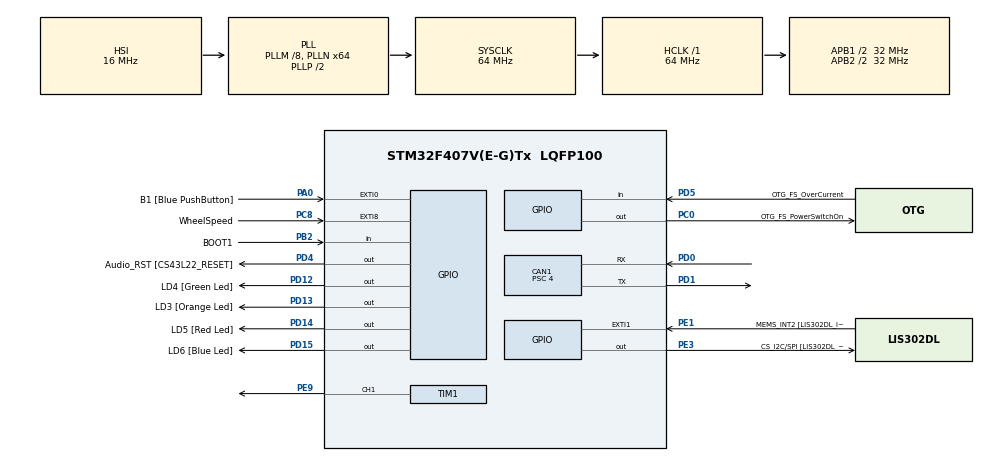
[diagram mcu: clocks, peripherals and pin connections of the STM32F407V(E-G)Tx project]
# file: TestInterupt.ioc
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CAN1.ABOM=ENABLE
CAN1.BS1=CAN_BS1_7TQ
CAN1.BS2=CAN_BS2_8TQ
CAN1.CalculateTimeBit=2000
CAN1.CalculateTimeQuantum=125.0
CAN1.Prescaler=4
CAN1.SJW=CAN_SJW_2TQ
FREERTOS.Tasks01=defaultTask,0,128,StartDefaultTask,Default,NULL
Mcu.Family=STM32F4
Mcu.Name=STM32F407V(E-G)Tx
Mcu.Package=LQFP100
NVIC.CAN1_RX0_IRQn=true\:5\:0\:false\:false\:true\:true\:true
NVIC.CAN1_RX1_IRQn=true\:5\:0\:false\:false\:true\:true\:true
NVIC.CAN1_TX_IRQn=true\:5\:0\:false\:false\:true\:true\:true
NVIC.EXTI0_IRQn=true\:5\:0\:false\:false\:true\:true\:true
NVIC.EXTI9_5_IRQn=true\:5\:0\:false\:false\:true\:true\:true
NVIC.PriorityGroup=NVIC_PRIORITYGROUP_4
NVIC.TIM1_BRK_TIM9_IRQn=true\:5\:0\:false\:false\:true\:true\:true
NVIC.TIM1_TRG_COM_TIM11_IRQn=true\:5\:0\:false\:false\:true\:true\:true
NVIC.TIM1_UP_TIM10_IRQn=true\:5\:0\:false\:false\:true\:true\:true
NVIC.TIM2_IRQn=true\:0\:0\:false\:false\:true\:false\:false
NVIC.TimeBase=TIM2_IRQn
NVIC.TimeBaseIP=TIM2
PA0-WKUP.GPIO_Label=B1 [Blue PushButton]
PA0-WKUP.Signal=GPXTI0
PA10.GPIO_Label=OTG_FS_ID
PA10.GPIO_Mode=GPIO_MODE_AF_PP
PA10.GPIO_PuPd=GPIO_NOPULL
PA10.GPIO_Speed=GPIO_SPEED_FREQ_LOW
PA10.Signal=USB_OTG_FS_ID
PA11.GPIO_Label=OTG_FS_DM
PA11.GPIO_Mode=GPIO_MODE_AF_PP
PA11.GPIO_PuPd=GPIO_NOPULL
PA11.GPIO_Speed=GPIO_SPEED_FREQ_LOW
PA11.Signal=USB_OTG_FS_DM
PA12.GPIO_Label=OTG_FS_DP
PA12.GPIO_Mode=GPIO_MODE_AF_PP
PA12.GPIO_PuPd=GPIO_NOPULL
PA12.GPIO_Speed=GPIO_SPEED_FREQ_LOW
PA12.Signal=USB_OTG_FS_DP
PA13.GPIO_Label=SWDIO
PA13.Signal=SYS_JTMS-SWDIO
PA14.GPIO_Label=SWCLK
PA14.Signal=SYS_JTCK-SWCLK
PA4.GPIO_Label=I2S3_WS [CS43L22_LRCK]
PA4.GPIO_Mode=GPIO_MODE_AF_PP
PA4.GPIO_PuPd=GPIO_NOPULL
PA4.GPIO_Speed=GPIO_SPEED_FREQ_LOW
PA4.Signal=I2S3_WS
PA5.GPIO_Label=SPI1_SCK [LIS302DL_SCL/SPC]
PA5.GPIO_Mode=GPIO_MODE_AF_PP
PA5.GPIO_PuPd=GPIO_NOPULL
PA5.GPIO_Speed=GPIO_SPEED_FREQ_LOW
PA5.Signal=SPI1_SCK
PA6.GPIO_Label=SPI1_MISO [LIS302DL_SDO]
PA6.GPIO_Mode=GPIO_MODE_AF_PP
PA6.GPIO_PuPd=GPIO_NOPULL
PA6.GPIO_Speed=GPIO_SPEED_FREQ_LOW
PA6.Signal=SPI1_MISO
PA7.GPIO_Label=SPI1_MOSI [LIS302DL_SDA/SDI/SDO]
PA7.GPIO_Mode=GPIO_MODE_AF_PP
PA7.GPIO_PuPd=GPIO_NOPULL
PA7.GPIO_Speed=GPIO_SPEED_FREQ_LOW
PA7.Signal=SPI1_MOSI
PA9.GPIO_Label=VBUS_FS
PA9.GPIO_Mode=GPIO_MODE_INPUT
PA9.GPIO_PuPd=GPIO_NOPULL
PA9.Signal=USB_OTG_FS_VBUS
PB10.GPIO_Label=CLK_IN [MP45DT02_CLK]
PB10.GPIO_Mode=GPIO_MODE_AF_PP
PB10.GPIO_PuPd=GPIO_NOPULL
PB10.GPIO_Speed=GPIO_SPEED_FREQ_LOW
PB10.Signal=I2S2_CK
PB2.GPIO_Label=BOOT1
PB2.GPIO_Mode=GPIO_MODE_INPUT
PB2.GPIO_PuPd=GPIO_NOPULL
PB2.Signal=GPIO_Input
PB3.GPIO_Label=SWO
PB3.Signal=SYS_JTDO-SWO
PB6.GPIO_Label=Audio_SCL [CS43L22_SCL]
PB6.GPIO_Mode=GPIO_MODE_AF_OD
PB6.GPIO_PuPd=GPIO_NOPULL
PB6.GPIO_Speed=GPIO_SPEED_FREQ_LOW
PB6.Signal=I2C1_SCL
PB9.GPIO_Label=Audio_SDA [CS43L22_SDA]
PB9.GPIO_Mode=GPIO_MODE_AF_OD
PB9.GPIO_PuPd=GPIO_NOPULL
PB9.GPIO_Speed=GPIO_SPEED_FREQ_LOW
PB9.Signal=I2C1_SDA
PC0.GPIO_Label=OTG_FS_PowerSwitchOn
PC0.GPIO_PuPd=GPIO_NOPULL
PC0.GPIO_Speed=GPIO_SPEED_FREQ_LOW
PC0.PinState=GPIO_PIN_SET
PC0.Signal=GPIO_Output
PC10.GPIO_Label=I2S3_SCK [CS43L22_SCLK]
PC10.GPIO_Mode=GPIO_MODE_AF_PP
PC10.GPIO_PuPd=GPIO_NOPULL
PC10.GPIO_Speed=GPIO_SPEED_FREQ_LOW
PC10.Signal=I2S3_CK
PC12.GPIO_Label=I2S3_SD [CS43L22_SDIN]
PC12.GPIO_Mode=GPIO_MODE_AF_PP
PC12.GPIO_PuPd=GPIO_NOPULL
PC12.GPIO_Speed=GPIO_SPEED_FREQ_LOW
PC12.Signal=I2S3_SD
PC14-OSC32_IN.GPIO_Label=PC14-OSC32_IN
PC14-OSC32_IN.Signal=RCC_OSC32_IN
PC15-OSC32_OUT.GPIO_Label=PC15-OSC32_OUT
PC15-OSC32_OUT.Signal=RCC_OSC32_OUT
PC3.GPIO_Label=PDM_OUT [MP45DT02_DOUT]
PC3.GPIO_Mode=GPIO_MODE_AF_PP
PC3.GPIO_PuPd=GPIO_NOPULL
PC3.GPIO_Speed=GPIO_SPEED_FREQ_LOW
PC3.Signal=I2S2_SD
PC7.GPIO_Label=I2S3_MCK [CS43L22_MCLK]
PC7.GPIO_Mode=GPIO_MODE_AF_PP
PC7.GPIO_PuPd=GPIO_NOPULL
PC7.GPIO_Speed=GPIO_SPEED_FREQ_LOW
PC7.Signal=I2S3_MCK
PC8.GPIO_Label=WheelSpeed
PC8.GPIO_ModeDefaultEXTI=GPIO_MODE_IT_FALLING
PC8.Signal=GPXTI8
PD0.Mode=Master
PD0.Signal=CAN1_RX
PD1.Mode=Master
PD1.Signal=CAN1_TX
PD12.GPIO_Label=LD4 [Green Led]
PD12.GPIO_PuPd=GPIO_NOPULL
PD12.GPIO_Speed=GPIO_SPEED_FREQ_LOW
PD12.Signal=GPIO_Output
PD13.GPIO_Label=LD3 [Orange Led]
PD13.GPIO_PuPd=GPIO_NOPULL
PD13.GPIO_Speed=GPIO_SPEED_FREQ_LOW
PD13.Signal=GPIO_Output
PD14.GPIO_Label=LD5 [Red Led]
PD14.GPIO_PuPd=GPIO_NOPULL
PD14.GPIO_Speed=GPIO_SPEED_FREQ_LOW
PD14.Signal=GPIO_Output
PD15.GPIO_Label=LD6 [Blue Led]
PD15.GPIO_PuPd=GPIO_NOPULL
PD15.GPIO_Speed=GPIO_SPEED_FREQ_LOW
PD15.Signal=GPIO_Output
PD4.GPIO_Label=Audio_RST [CS43L22_RESET]
PD4.GPIO_PuPd=GPIO_NOPULL
PD4.GPIO_Speed=GPIO_SPEED_FREQ_LOW
PD4.Signal=GPIO_Output
PD5.GPIO_Label=OTG_FS_OverCurrent
PD5.GPIO_Mode=GPIO_MODE_INPUT
PD5.GPIO_PuPd=GPIO_NOPULL
PD5.Signal=GPIO_Input
PE1.GPIO_Label=MEMS_INT2 [LIS302DL_INT2]
PE1.GPIO_ModeDefaultEXTI=GPIO_MODE_EVT_RISING
PE1.GPIO_PuPd=GPIO_NOPULL
PE1.Signal=GPXTI1
PE3.GPIO_Label=CS_I2C/SPI [LIS302DL_CS_I2C/SPI]
PE3.GPIO_PuPd=GPIO_NOPULL
PE3.GPIO_Speed=GPIO_SPEED_FREQ_LOW
PE3.Signal=GPIO_Output
PE9.Signal=S_TIM1_CH1
PH0-OSC_IN.GPIO_Label=PH0-OSC_IN
PH0-OSC_IN.Signal=RCC_OSC_IN
PH1-OSC_OUT.GPIO_Label=PH1-OSC_OUT
PH1-OSC_OUT.Signal=RCC_OSC_OUT
ProjectManager.HeapSize=0x200
ProjectManager.StackSize=0x400
ProjectManager.TargetToolchain=SW4STM32
RCC.48MHZClocksFreq_Value=18285714.285714287
RCC.AHBFreq_Value=64000000
RCC.APB1CLKDivider=RCC_HCLK_DIV2
RCC.APB1Freq_Value=32000000
RCC.APB1TimFreq_Value=64000000
RCC.APB2CLKDivider=RCC_HCLK_DIV2
RCC.APB2Freq_Value=32000000
RCC.APB2TimFreq_Value=64000000
RCC.CortexFreq_Value=64000000
RCC.HCLKFreq_Value=64000000
RCC.HSE_VALUE=8000000
RCC.HSI_VALUE=16000000
RCC.LSE_VALUE=32768
RCC.PLLM=8
RCC.PLLN=64
RCC.PLLQ=7
RCC.SYSCLKFreq_VALUE=64000000
RCC.SYSCLKSource=RCC_SYSCLKSOURCE_PLLCLK
RCC.VCOOutputFreq_Value=128000000
SH.S_TIM1_CH1.0=TIM1_CH1,Output Compare1 CH1
TIM1.Channel-Output\ Compare1\ CH1=TIM_CHANNEL_1
TIM1.OCMode_1=TIM_OCMODE_TOGGLE
TIM1.Period=250
TIM1.Prescaler=32000
TIM1.RepetitionCounter=250
TIM1.TIM_MasterOutputTrigger=TIM_TRGO_OC1REF
TIM1.TIM_MasterSlaveMode=TIM_MASTERSLAVEMODE_ENABLE
VP_FREERTOS_VS_ENABLE.Mode=Enabled
VP_SYS_VS_tim2.Mode=TIM2
VP_TIM1_VS_ClockSourceINT.Mode=Internal
board=STM32F4DISCOVERY

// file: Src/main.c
/**
  ******************************************************************************
  * File Name          : main.c
  * Description        : Main program body
  ******************************************************************************
  * This notice applies to any and all portions of this file
  * that are not between comment pairs USER CODE BEGIN and
  * USER CODE END. Other portions of this file, whether
  * inserted by the user or by software development tools
  * are owned by their respective copyright owners.
  *
  * Copyright (c) 2017 STMicroelectronics International N.V.
  * All rights reserved.
  *
  * Redistribution and use in source and binary forms, with or without
  * modification, are permitted, provided that the following conditions are met:
  *
  * 1. Redistribution of source code must retain the above copyright notice,
  *    this list of conditions and the following disclaimer.
  * 2. Redistributions in binary form must reproduce the above copyright notice,
  *    this list of conditions and the following disclaimer in the documentation
  *    and/or other materials provided with the distribution.
  * 3. Neither the name of STMicroelectronics nor the names of other
  *    contributors to this software may be used to endorse or promote products
  *    derived from this software without specific written permission.
  * 4. This software, including modifications and/or derivative works of this
  *    software, must execute solely and exclusively on microcontroller or
  *    microprocessor devices manufactured by or for STMicroelectronics.
  * 5. Redistribution and use of this software other than as permitted under
  *    this license is void and will automatically terminate your rights under
  *    this license.
  *
  * THIS SOFTWARE IS PROVIDED BY STMICROELECTRONICS AND CONTRIBUTORS "AS IS"
  * AND ANY EXPRESS, IMPLIED OR STATUTORY WARRANTIES, INCLUDING, BUT NOT
  * LIMITED TO, THE IMPLIED WARRANTIES OF MERCHANTABILITY, FITNESS FOR A
  * PARTICULAR PURPOSE AND NON-INFRINGEMENT OF THIRD PARTY INTELLECTUAL PROPERTY
  * RIGHTS ARE DISCLAIMED TO THE FULLEST EXTENT PERMITTED BY LAW. IN NO EVENT
  * SHALL STMICROELECTRONICS OR CONTRIBUTORS BE LIABLE FOR ANY DIRECT, INDIRECT,
  * INCIDENTAL, SPECIAL, EXEMPLARY, OR CONSEQUENTIAL DAMAGES (INCLUDING, BUT NOT
  * LIMITED TO, PROCUREMENT OF SUBSTITUTE GOODS OR SERVICES; LOSS OF USE, DATA,
  * OR PROFITS; OR BUSINESS INTERRUPTION) HOWEVER CAUSED AND ON ANY THEORY OF
  * LIABILITY, WHETHER IN CONTRACT, STRICT LIABILITY, OR TORT (INCLUDING
  * NEGLIGENCE OR OTHERWISE) ARISING IN ANY WAY OUT OF THE USE OF THIS SOFTWARE,
  * EVEN IF ADVISED OF THE POSSIBILITY OF SUCH DAMAGE.
  *
  ******************************************************************************
  */
#include "main.h"
#include "stm32f4xx_hal.h"
#include "cmsis_os.h"

/* USER CODE BEGIN Includes */
xQueueHandle TXQueue;
/* USER CODE END Includes */

CAN_HandleTypeDef hcan1;

TIM_HandleTypeDef htim1;

osThreadId defaultTaskHandle;

xSemaphoreHandle gatekeeper=0;

/* USER CODE BEGIN PV */
/* Private variables ---------------------------------------------------------*/

volatile double HITCOUNTER;
double speed;

/* USER CODE END PV */

void SystemClock_Config(void);
static void MX_GPIO_Init(void);
static void MX_TIM1_Init(void);
static void MX_CAN1_Init(void);
void StartDefaultTask(void const * argument);

void HAL_TIM_MspPostInit(TIM_HandleTypeDef *htim);

/* USER CODE BEGIN PFP */
/* Private function prototypes -----------------------------------------------*/

void TXCANTask(void *pvParameters)
{
	for (;;)
	{
		//check if the queue has a can frame to send

		CanTxMsgTypeDef tx;
		if (xQueuePeek(TXQueue, &tx, portMAX_DELAY) == pdTRUE)
		{
			//check if CAN mutex is available
			if (xSemaphoreTake(gatekeeper, 100) == pdTRUE)
			{
				//actually take item out of queue
				xQueueReceive(TXQueue, &tx, portMAX_DELAY);

				hcan1.pTxMsg = &tx;  //stage message in CAN structure
				HAL_CAN_Transmit_IT(&hcan1);  //transmit staged message
				xSemaphoreGive(gatekeeper);  //release CAN mutex
			}
		}
	}
}

/* USER CODE END PFP */

/* USER CODE BEGIN 0 */
void my_task(void *p)
{
	//every one second
	for(;;)
	{
		HAL_GPIO_TogglePin(LD5_GPIO_Port,LD5_Pin);// lights up the LED every one second
		vTaskDelay(1000);
		speed=(double)(WHEEL_CIR) *(double)(IPS_TO_MPH)*HITCOUNTER;// calculates speed

		HITCOUNTER=0; // reset

		///////////////
		CanTxMsgTypeDef tx;

		memcpy(tx.Data, &speed, sizeof(double));
		tx.DLC = 8;
		tx.RTR = CAN_RTR_DATA;			//CAN Data frame
		tx.IDE = CAN_ID_STD;			//Standard Identifier
		tx.StdId = 0x200;
		xQueueSendToBack(TXQueue, &tx, 10);

	}
}
/* USER CODE END 0 */

int main(void)
{

  /* MCU Configuration----------------------------------------------------------*/

  /* Reset of all peripherals, Initializes the Flash interface and the Systick. */
  HAL_Init();

  /* Configure the system clock */
  SystemClock_Config();

  /* Initialize all configured peripherals */
  MX_GPIO_Init();
  MX_TIM1_Init();
  MX_CAN1_Init();

  /* USER CODE BEGIN RTOS_MUTEX */
  /* add mutexes, ... */
  gatekeeper=xSemaphoreCreateMutex();
  /* USER CODE END RTOS_MUTEX */

  /* Create the thread(s) */
  /* definition and creation of defaultTask */
  osThreadDef(defaultTask, StartDefaultTask, osPriorityNormal, 0, 128);
  defaultTaskHandle = osThreadCreate(osThread(defaultTask), NULL);

  /* USER CODE BEGIN RTOS_QUEUES */
  /* add queues, ... */

  xTaskCreate(my_task,(signed char*)"my_task",1024,NULL,1,NULL);
  xTaskCreate(TXCANTask,(signed char*)"RXCANTask",1024,NULL,1,NULL);
  TXQueue=xQueueCreate(3,sizeof(CanTxMsgTypeDef));
  /* USER CODE END RTOS_QUEUES */

  /* Start scheduler */
  osKernelStart();

  /* We should never get here as control is now taken by the scheduler */

  /* Infinite loop */
  while (1)
  {

  }

}

/** System Clock Configuration
*/
void SystemClock_Config(void)
{

  RCC_OscInitTypeDef RCC_OscInitStruct;
  RCC_ClkInitTypeDef RCC_ClkInitStruct;

    /**Configure the main internal regulator output voltage
    */
  __HAL_RCC_PWR_CLK_ENABLE();

  __HAL_PWR_VOLTAGESCALING_CONFIG(PWR_REGULATOR_VOLTAGE_SCALE1);

    /**Initializes the CPU, AHB and APB busses clocks
    */
  RCC_OscInitStruct.OscillatorType = RCC_OSCILLATORTYPE_HSI;
  RCC_OscInitStruct.HSIState = RCC_HSI_ON;
  RCC_OscInitStruct.HSICalibrationValue = 16;
  RCC_OscInitStruct.PLL.PLLState = RCC_PLL_ON;
  RCC_OscInitStruct.PLL.PLLSource = RCC_PLLSOURCE_HSI;
  RCC_OscInitStruct.PLL.PLLM = 8;
  RCC_OscInitStruct.PLL.PLLN = 64;
  RCC_OscInitStruct.PLL.PLLP = RCC_PLLP_DIV2;
  RCC_OscInitStruct.PLL.PLLQ = 7;
  if (HAL_RCC_OscConfig(&RCC_OscInitStruct) != HAL_OK)
  {
    _Error_Handler(__FILE__, __LINE__);
  }

    /**Initializes the CPU, AHB and APB busses clocks
    */
  RCC_ClkInitStruct.ClockType = RCC_CLOCKTYPE_HCLK|RCC_CLOCKTYPE_SYSCLK
                              |RCC_CLOCKTYPE_PCLK1|RCC_CLOCKTYPE_PCLK2;
  RCC_ClkInitStruct.SYSCLKSource = RCC_SYSCLKSOURCE_PLLCLK;
  RCC_ClkInitStruct.AHBCLKDivider = RCC_SYSCLK_DIV1;
  RCC_ClkInitStruct.APB1CLKDivider = RCC_HCLK_DIV2;
  RCC_ClkInitStruct.APB2CLKDivider = RCC_HCLK_DIV2;

  if (HAL_RCC_ClockConfig(&RCC_ClkInitStruct, FLASH_LATENCY_2) != HAL_OK)
  {
    _Error_Handler(__FILE__, __LINE__);
  }

    /**Configure the Systick interrupt time
    */
  HAL_SYSTICK_Config(HAL_RCC_GetHCLKFreq()/1000);

    /**Configure the Systick
    */
  HAL_SYSTICK_CLKSourceConfig(SYSTICK_CLKSOURCE_HCLK);

  /* SysTick_IRQn interrupt configuration */
  HAL_NVIC_SetPriority(SysTick_IRQn, 15, 0);
}

/* CAN1 init function */
static void MX_CAN1_Init(void)
{

  hcan1.Instance = CAN1;
  hcan1.Init.Prescaler = 4;
  hcan1.Init.Mode = CAN_MODE_NORMAL;
  hcan1.Init.SJW = CAN_SJW_2TQ;
  hcan1.Init.BS1 = CAN_BS1_7TQ;
  hcan1.Init.BS2 = CAN_BS2_8TQ;
  hcan1.Init.TTCM = DISABLE;
  hcan1.Init.ABOM = ENABLE;
  hcan1.Init.AWUM = DISABLE;
  hcan1.Init.NART = DISABLE;
  hcan1.Init.RFLM = DISABLE;
  hcan1.Init.TXFP = DISABLE;
  if (HAL_CAN_Init(&hcan1) != HAL_OK)
  {
    _Error_Handler(__FILE__, __LINE__);
  }

}

/* TIM1 init function */
static void MX_TIM1_Init(void)
{

  TIM_ClockConfigTypeDef sClockSourceConfig;
  TIM_MasterConfigTypeDef sMasterConfig;
  TIM_OC_InitTypeDef sConfigOC;
  TIM_BreakDeadTimeConfigTypeDef sBreakDeadTimeConfig;

  htim1.Instance = TIM1;
  htim1.Init.Prescaler = 32000;
  htim1.Init.CounterMode = TIM_COUNTERMODE_UP;
  htim1.Init.Period = 250;
  htim1.Init.ClockDivision = TIM_CLOCKDIVISION_DIV1;
  htim1.Init.RepetitionCounter = 250;
  if (HAL_TIM_Base_Init(&htim1) != HAL_OK)
  {
    _Error_Handler(__FILE__, __LINE__);
  }

  sClockSourceConfig.ClockSource = TIM_CLOCKSOURCE_INTERNAL;
  if (HAL_TIM_ConfigClockSource(&htim1, &sClockSourceConfig) != HAL_OK)
  {
    _Error_Handler(__FILE__, __LINE__);
  }

  if (HAL_TIM_OC_Init(&htim1) != HAL_OK)
  {
    _Error_Handler(__FILE__, __LINE__);
  }

  sMasterConfig.MasterOutputTrigger = TIM_TRGO_OC1REF;
  sMasterConfig.MasterSlaveMode = TIM_MASTERSLAVEMODE_ENABLE;
  if (HAL_TIMEx_MasterConfigSynchronization(&htim1, &sMasterConfig) != HAL_OK)
  {
    _Error_Handler(__FILE__, __LINE__);
  }

  sConfigOC.OCMode = TIM_OCMODE_TOGGLE;
  sConfigOC.Pulse = 0;
  sConfigOC.OCPolarity = TIM_OCPOLARITY_HIGH;
  sConfigOC.OCNPolarity = TIM_OCNPOLARITY_HIGH;
  sConfigOC.OCFastMode = TIM_OCFAST_DISABLE;
  sConfigOC.OCIdleState = TIM_OCIDLESTATE_RESET;
  sConfigOC.OCNIdleState = TIM_OCNIDLESTATE_RESET;
  if (HAL_TIM_OC_ConfigChannel(&htim1, &sConfigOC, TIM_CHANNEL_1) != HAL_OK)
  {
    _Error_Handler(__FILE__, __LINE__);
  }

  sBreakDeadTimeConfig.OffStateRunMode = TIM_OSSR_DISABLE;
  sBreakDeadTimeConfig.OffStateIDLEMode = TIM_OSSI_DISABLE;
  sBreakDeadTimeConfig.LockLevel = TIM_LOCKLEVEL_OFF;
  sBreakDeadTimeConfig.DeadTime = 0;
  sBreakDeadTimeConfig.BreakState = TIM_BREAK_DISABLE;
  sBreakDeadTimeConfig.BreakPolarity = TIM_BREAKPOLARITY_HIGH;
  sBreakDeadTimeConfig.AutomaticOutput = TIM_AUTOMATICOUTPUT_DISABLE;
  if (HAL_TIMEx_ConfigBreakDeadTime(&htim1, &sBreakDeadTimeConfig) != HAL_OK)
  {
    _Error_Handler(__FILE__, __LINE__);
  }

  HAL_TIM_MspPostInit(&htim1);

}

/** Configure pins as
        * Analog
        * Input
        * Output
        * EVENT_OUT
        * EXTI
     PC3   ------> I2S2_SD
     PA4   ------> I2S3_WS
     PA5   ------> SPI1_SCK
     PA6   ------> SPI1_MISO
     PA7   ------> SPI1_MOSI
     PB10   ------> I2S2_CK
     PC7   ------> I2S3_MCK
     PA9   ------> USB_OTG_FS_VBUS
     PA10   ------> USB_OTG_FS_ID
     PA11   ------> USB_OTG_FS_DM
     PA12   ------> USB_OTG_FS_DP
     PC10   ------> I2S3_CK
     PC12   ------> I2S3_SD
     PB6   ------> I2C1_SCL
     PB9   ------> I2C1_SDA
*/
static void MX_GPIO_Init(void)
{

  GPIO_InitTypeDef GPIO_InitStruct;

  /* GPIO Ports Clock Enable */
  __HAL_RCC_GPIOE_CLK_ENABLE();
  __HAL_RCC_GPIOC_CLK_ENABLE();
  __HAL_RCC_GPIOH_CLK_ENABLE();
  __HAL_RCC_GPIOA_CLK_ENABLE();
  __HAL_RCC_GPIOB_CLK_ENABLE();
  __HAL_RCC_GPIOD_CLK_ENABLE();

  /*Configure GPIO pin Output Level */
  HAL_GPIO_WritePin(CS_I2C_SPI_GPIO_Port, CS_I2C_SPI_Pin, GPIO_PIN_RESET);

  /*Configure GPIO pin Output Level */
  HAL_GPIO_WritePin(OTG_FS_PowerSwitchOn_GPIO_Port, OTG_FS_PowerSwitchOn_Pin, GPIO_PIN_SET);

  /*Configure GPIO pin Output Level */
  HAL_GPIO_WritePin(GPIOD, LD4_Pin|LD3_Pin|LD5_Pin|LD6_Pin
                          |Audio_RST_Pin, GPIO_PIN_RESET);

  /*Configure GPIO pin : CS_I2C_SPI_Pin */
  GPIO_InitStruct.Pin = CS_I2C_SPI_Pin;
  GPIO_InitStruct.Mode = GPIO_MODE_OUTPUT_PP;
  GPIO_InitStruct.Pull = GPIO_NOPULL;
  GPIO_InitStruct.Speed = GPIO_SPEED_FREQ_LOW;
  HAL_GPIO_Init(CS_I2C_SPI_GPIO_Port, &GPIO_InitStruct);

  /*Configure GPIO pin : OTG_FS_PowerSwitchOn_Pin */
  GPIO_InitStruct.Pin = OTG_FS_PowerSwitchOn_Pin;
  GPIO_InitStruct.Mode = GPIO_MODE_OUTPUT_PP;
  GPIO_InitStruct.Pull = GPIO_NOPULL;
  GPIO_InitStruct.Speed = GPIO_SPEED_FREQ_LOW;
  HAL_GPIO_Init(OTG_FS_PowerSwitchOn_GPIO_Port, &GPIO_InitStruct);

  /*Configure GPIO pin : PDM_OUT_Pin */
  GPIO_InitStruct.Pin = PDM_OUT_Pin;
  GPIO_InitStruct.Mode = GPIO_MODE_AF_PP;
  GPIO_InitStruct.Pull = GPIO_NOPULL;
  GPIO_InitStruct.Speed = GPIO_SPEED_FREQ_LOW;
  GPIO_InitStruct.Alternate = GPIO_AF5_SPI2;
  HAL_GPIO_Init(PDM_OUT_GPIO_Port, &GPIO_InitStruct);

  /*Configure GPIO pin : B1_Pin */
  GPIO_InitStruct.Pin = B1_Pin;
  GPIO_InitStruct.Mode = GPIO_MODE_IT_RISING;
  GPIO_InitStruct.Pull = GPIO_NOPULL;
  HAL_GPIO_Init(B1_GPIO_Port, &GPIO_InitStruct);

  /*Configure GPIO pin : I2S3_WS_Pin */
  GPIO_InitStruct.Pin = I2S3_WS_Pin;
  GPIO_InitStruct.Mode = GPIO_MODE_AF_PP;
  GPIO_InitStruct.Pull = GPIO_NOPULL;
  GPIO_InitStruct.Speed = GPIO_SPEED_FREQ_LOW;
  GPIO_InitStruct.Alternate = GPIO_AF6_SPI3;
  HAL_GPIO_Init(I2S3_WS_GPIO_Port, &GPIO_InitStruct);

  /*Configure GPIO pins : SPI1_SCK_Pin SPI1_MISO_Pin SPI1_MOSI_Pin */
  GPIO_InitStruct.Pin = SPI1_SCK_Pin|SPI1_MISO_Pin|SPI1_MOSI_Pin;
  GPIO_InitStruct.Mode = GPIO_MODE_AF_PP;
  GPIO_InitStruct.Pull = GPIO_NOPULL;
  GPIO_InitStruct.Speed = GPIO_SPEED_FREQ_LOW;
  GPIO_InitStruct.Alternate = GPIO_AF5_SPI1;
  HAL_GPIO_Init(GPIOA, &GPIO_InitStruct);

  /*Configure GPIO pin : BOOT1_Pin */
  GPIO_InitStruct.Pin = BOOT1_Pin;
  GPIO_InitStruct.Mode = GPIO_MODE_INPUT;
  GPIO_InitStruct.Pull = GPIO_NOPULL;
  HAL_GPIO_Init(BOOT1_GPIO_Port, &GPIO_InitStruct);

  /*Configure GPIO pin : CLK_IN_Pin */
  GPIO_InitStruct.Pin = CLK_IN_Pin;
  GPIO_InitStruct.Mode = GPIO_MODE_AF_PP;
  GPIO_InitStruct.Pull = GPIO_NOPULL;
  GPIO_InitStruct.Speed = GPIO_SPEED_FREQ_LOW;
  GPIO_InitStruct.Alternate = GPIO_AF5_SPI2;
  HAL_GPIO_Init(CLK_IN_GPIO_Port, &GPIO_InitStruct);

  /*Configure GPIO pins : LD4_Pin LD3_Pin LD5_Pin LD6_Pin
                           Audio_RST_Pin */
  GPIO_InitStruct.Pin = LD4_Pin|LD3_Pin|LD5_Pin|LD6_Pin
                          |Audio_RST_Pin;
  GPIO_InitStruct.Mode = GPIO_MODE_OUTPUT_PP;
  GPIO_InitStruct.Pull = GPIO_NOPULL;
  GPIO_InitStruct.Speed = GPIO_SPEED_FREQ_LOW;
  HAL_GPIO_Init(GPIOD, &GPIO_InitStruct);

  /*Configure GPIO pins : I2S3_MCK_Pin I2S3_SCK_Pin I2S3_SD_Pin */
  GPIO_InitStruct.Pin = I2S3_MCK_Pin|I2S3_SCK_Pin|I2S3_SD_Pin;
  GPIO_InitStruct.Mode = GPIO_MODE_AF_PP;
  GPIO_InitStruct.Pull = GPIO_NOPULL;
  GPIO_InitStruct.Speed = GPIO_SPEED_FREQ_LOW;
  GPIO_InitStruct.Alternate = GPIO_AF6_SPI3;
  HAL_GPIO_Init(GPIOC, &GPIO_InitStruct);

  /*Configure GPIO pin : WheelSpeed_Pin */
  GPIO_InitStruct.Pin = WheelSpeed_Pin;
  GPIO_InitStruct.Mode = GPIO_MODE_IT_FALLING;
  GPIO_InitStruct.Pull = GPIO_NOPULL;
  HAL_GPIO_Init(WheelSpeed_GPIO_Port, &GPIO_InitStruct);

  /*Configure GPIO pin : VBUS_FS_Pin */
  GPIO_InitStruct.Pin = VBUS_FS_Pin;
  GPIO_InitStruct.Mode = GPIO_MODE_INPUT;
  GPIO_InitStruct.Pull = GPIO_NOPULL;
  HAL_GPIO_Init(VBUS_FS_GPIO_Port, &GPIO_InitStruct);

  /*Configure GPIO pins : OTG_FS_ID_Pin OTG_FS_DM_Pin OTG_FS_DP_Pin */
  GPIO_InitStruct.Pin = OTG_FS_ID_Pin|OTG_FS_DM_Pin|OTG_FS_DP_Pin;
  GPIO_InitStruct.Mode = GPIO_MODE_AF_PP;
  GPIO_InitStruct.Pull = GPIO_NOPULL;
  GPIO_InitStruct.Speed = GPIO_SPEED_FREQ_LOW;
  GPIO_InitStruct.Alternate = GPIO_AF10_OTG_FS;
  HAL_GPIO_Init(GPIOA, &GPIO_InitStruct);

  /*Configure GPIO pin : OTG_FS_OverCurrent_Pin */
  GPIO_InitStruct.Pin = OTG_FS_OverCurrent_Pin;
  GPIO_InitStruct.Mode = GPIO_MODE_INPUT;
  GPIO_InitStruct.Pull = GPIO_NOPULL;
  HAL_GPIO_Init(OTG_FS_OverCurrent_GPIO_Port, &GPIO_InitStruct);

  /*Configure GPIO pins : Audio_SCL_Pin Audio_SDA_Pin */
  GPIO_InitStruct.Pin = Audio_SCL_Pin|Audio_SDA_Pin;
  GPIO_InitStruct.Mode = GPIO_MODE_AF_OD;
  GPIO_InitStruct.Pull = GPIO_PULLUP;
  GPIO_InitStruct.Speed = GPIO_SPEED_FREQ_LOW;
  GPIO_InitStruct.Alternate = GPIO_AF4_I2C1;
  HAL_GPIO_Init(GPIOB, &GPIO_InitStruct);

  /*Configure GPIO pin : MEMS_INT2_Pin */
  GPIO_InitStruct.Pin = MEMS_INT2_Pin;
  GPIO_InitStruct.Mode = GPIO_MODE_EVT_RISING;
  GPIO_InitStruct.Pull = GPIO_NOPULL;
  HAL_GPIO_Init(MEMS_INT2_GPIO_Port, &GPIO_InitStruct);

  /* EXTI interrupt init*/
  HAL_NVIC_SetPriority(EXTI0_IRQn, 5, 0);
  HAL_NVIC_EnableIRQ(EXTI0_IRQn);

  HAL_NVIC_SetPriority(EXTI9_5_IRQn, 5, 0);
  HAL_NVIC_EnableIRQ(EXTI9_5_IRQn);

}

/* StartDefaultTask function */
void StartDefaultTask(void const * argument)
{

  for(;;)
  {
    osDelay(1);
  }
}

void HAL_TIM_PeriodElapsedCallback(TIM_HandleTypeDef *htim)
{
  if (htim->Instance == TIM2) {
    HAL_IncTick();
  }
}

void _Error_Handler(char * file, int line)
{
  while(1)
  {
  }
}

/************************ (C) COPYRIGHT STMicroelectronics *****END OF FILE****/
